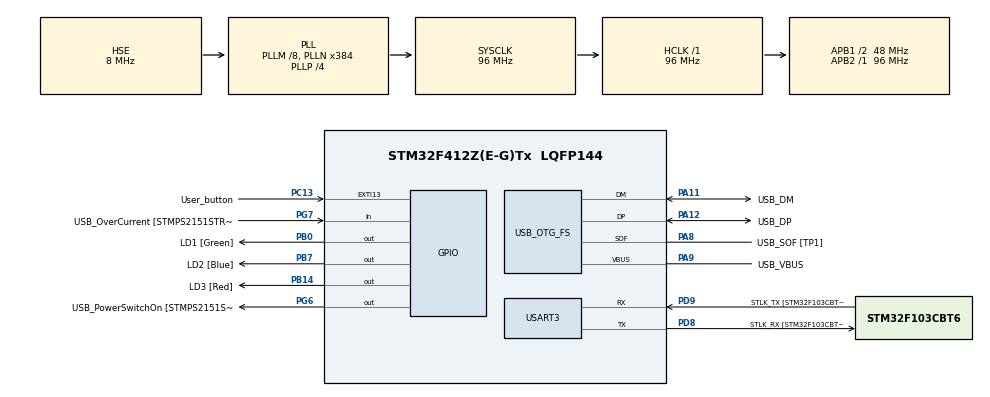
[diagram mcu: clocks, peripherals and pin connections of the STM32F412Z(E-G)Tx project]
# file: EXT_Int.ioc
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Mcu.Family=STM32F4
Mcu.Name=STM32F412Z(E-G)Tx
Mcu.Package=LQFP144
NVIC.EXTI15_10_IRQn=true\:0\:0\:false\:false\:true\:true\:true\:true
NVIC.PriorityGroup=NVIC_PRIORITYGROUP_4
PA10.GPIO_Label=USB_ID
PA10.Signal=USB_OTG_FS_ID
PA11.GPIO_Label=USB_DM
PA11.Mode=Device_Only
PA11.Signal=USB_OTG_FS_DM
PA12.GPIO_Label=USB_DP
PA12.Mode=Device_Only
PA12.Signal=USB_OTG_FS_DP
PA13.GPIO_Label=TMS
PA13.Mode=Serial_Wire
PA13.Signal=SYS_JTMS-SWDIO
PA14.GPIO_Label=TCK
PA14.Mode=Serial_Wire
PA14.Signal=SYS_JTCK-SWCLK
PA8.GPIO_Label=USB_SOF [TP1]
PA8.Mode=Activate_SOF_FS
PA8.Signal=USB_OTG_FS_SOF
PA9.GPIO_Label=USB_VBUS
PA9.Mode=Activate_VBUS
PA9.Signal=USB_OTG_FS_VBUS
PB0.GPIO_Label=LD1 [Green]
PB0.GPIO_ModeDefaultOutputPP=GPIO_MODE_OUTPUT_OD
PB0.GPIO_PuPd=GPIO_PULLUP
PB0.PinState=GPIO_PIN_SET
PB0.Signal=GPIO_Output
PB14.GPIO_Label=LD3 [Red]
PB14.Signal=GPIO_Output
PB3.GPIO_Label=SWO
PB3.Signal=SYS_JTDO-SWO
PB7.GPIO_Label=LD2 [Blue]
PB7.Signal=GPIO_Output
PC13.GPIO_Label=User_button
PC13.Signal=GPXTI13
PC14-OSC32_IN.Mode=LSE-External-Oscillator
PC14-OSC32_IN.Signal=RCC_OSC32_IN
PC15-OSC32_OUT.Mode=LSE-External-Oscillator
PC15-OSC32_OUT.Signal=RCC_OSC32_OUT
PD8.GPIO_Label=STLK_RX [STM32F103CBT6_PA3]
PD8.Mode=Asynchronous
PD8.Signal=USART3_TX
PD9.GPIO_Label=STLK_TX [STM32F103CBT6_PA2]
PD9.Mode=Asynchronous
PD9.Signal=USART3_RX
PG6.GPIO_Label=USB_PowerSwitchOn [STMPS2151STR_EN]
PG6.Signal=GPIO_Output
PG7.GPIO_Label=USB_OverCurrent [STMPS2151STR_FAULT]
PG7.Signal=GPIO_Input
PH0\ -\ OSC_IN.GPIO_Label=MCO
PH0\ -\ OSC_IN.Mode=HSE-External-Clock-Source
PH0\ -\ OSC_IN.Signal=RCC_OSC_IN
PH1\ -\ OSC_OUT.Mode=HSE-External-Clock-Source
PH1\ -\ OSC_OUT.Signal=RCC_OSC_OUT
ProjectManager.HeapSize=0x200
ProjectManager.StackSize=0x400
ProjectManager.TargetToolchain=STM32CubeIDE
RCC.48MHZClocksFreq_Value=24000000
RCC.AHBFreq_Value=96000000
RCC.APB1CLKDivider=RCC_HCLK_DIV2
RCC.APB1Freq_Value=48000000
RCC.APB1TimFreq_Value=96000000
RCC.APB2Freq_Value=96000000
RCC.APB2TimFreq_Value=96000000
RCC.CortexFreq_Value=96000000
RCC.HCLKFreq_Value=96000000
RCC.HSE_VALUE=8000000
RCC.HSI_VALUE=16000000
RCC.PLLM=8
RCC.PLLMUL=RCC_PLL_MUL9
RCC.PLLN=384
RCC.PLLP=RCC_PLLP_DIV4
RCC.PLLQ=8
RCC.PRESCALERUSB=RCC_USBCLKSOURCE_PLL_DIV1_5
RCC.SYSCLKFreq_VALUE=96000000
RCC.SYSCLKSource=RCC_SYSCLKSOURCE_PLLCLK
RCC.SYSCLKSourceVirtual=RCC_SYSCLKSOURCE_PLLCLK
RCC.USBFreq_Value=48000000
RCC.VCOOutputFreq_Value=384000000
USART3.VirtualMode=VM_ASYNC
USB_OTG_FS.VirtualMode=Device_Only
board=NUCLEO-F412ZG

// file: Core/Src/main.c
/* USER CODE BEGIN Header */
/**
  ******************************************************************************
  * @file           : main.c
  * @brief          : Main program body
  ******************************************************************************
  * @attention
  *
  * Copyright (c) 2025 STMicroelectronics.
  * All rights reserved.
  *
  * This software is licensed under terms that can be found in the LICENSE file
  * in the root directory of this software component.
  * If no LICENSE file comes with this software, it is provided AS-IS.
  *
  ******************************************************************************
  */
/* USER CODE END Header */
#include "main.h"

/* USER CODE BEGIN Includes */
#include <stdio.h>
/* USER CODE END Includes */

UART_HandleTypeDef huart3;

PCD_HandleTypeDef hpcd_USB_OTG_FS;

/* USER CODE BEGIN PV */

uint8_t btn_press = 0;

uint16_t blink_delays[] = {
		2000,
		1000,
		100
};

uint8_t blink_delay = 0;

uint64_t now = 0, last_blink = 0;

/* USER CODE END PV */

void SystemClock_Config(void);
static void MX_GPIO_Init(void);
static void MX_USART3_UART_Init(void);
static void MX_USB_OTG_FS_PCD_Init(void);

/* USER CODE BEGIN 0 */
__weak void HAL_GPIO_EXTI_Callback(uint16_t GPIO_Pin)
{
	if (GPIO_Pin == User_button_Pin) {
		btn_press = 1;
	}
}

// Send printf to uart3
int _write(int fd, char* ptr, int len) {
  HAL_StatusTypeDef hstatus;

  if (fd == 1 || fd == 2) {
    hstatus = HAL_UART_Transmit(&huart3, (uint8_t *) ptr, len, HAL_MAX_DELAY);
    if (hstatus == HAL_OK)
      return len;
    else
      return -1;
  }
  return -1;
}

/* USER CODE END 0 */

int main(void)
{

  /* MCU Configuration--------------------------------------------------------*/

  /* Reset of all peripherals, Initializes the Flash interface and the Systick. */
  HAL_Init();

  /* Configure the system clock */
  SystemClock_Config();

  /* Initialize all configured peripherals */
  MX_GPIO_Init();
  MX_USART3_UART_Init();
  MX_USB_OTG_FS_PCD_Init();

  /* Infinite loop */
  /* USER CODE BEGIN WHILE */
  while (1)
  {

  	now = HAL_GetTick();

  	if (now - last_blink >= blink_delays[blink_delay]){
  	HAL_GPIO_TogglePin(LD1_GPIO_Port, LD1_Pin);

  	last_blink = now;

  	}

  	if(btn_press == 1){

  		printf("Button pressed\n");

  		blink_delay++;

  		if (blink_delay >= sizeof(blink_delays) / sizeof(blink_delays[0])) blink_delay = 0;

  		btn_press = 0;
  	}

  }
    /* USER CODE END WHILE */
}

void SystemClock_Config(void)
{
  RCC_OscInitTypeDef RCC_OscInitStruct = {0};
  RCC_ClkInitTypeDef RCC_ClkInitStruct = {0};

  /** Configure the main internal regulator output voltage
  */
  __HAL_RCC_PWR_CLK_ENABLE();
  __HAL_PWR_VOLTAGESCALING_CONFIG(PWR_REGULATOR_VOLTAGE_SCALE1);

  /** Initializes the RCC Oscillators according to the specified parameters
  * in the RCC_OscInitTypeDef structure.
  */
  RCC_OscInitStruct.OscillatorType = RCC_OSCILLATORTYPE_HSE;
  RCC_OscInitStruct.HSEState = RCC_HSE_BYPASS;
  RCC_OscInitStruct.PLL.PLLState = RCC_PLL_ON;
  RCC_OscInitStruct.PLL.PLLSource = RCC_PLLSOURCE_HSE;
  RCC_OscInitStruct.PLL.PLLM = 8;
  RCC_OscInitStruct.PLL.PLLN = 384;
  RCC_OscInitStruct.PLL.PLLP = RCC_PLLP_DIV4;
  RCC_OscInitStruct.PLL.PLLQ = 8;
  RCC_OscInitStruct.PLL.PLLR = 2;
  if (HAL_RCC_OscConfig(&RCC_OscInitStruct) != HAL_OK)
  {
    Error_Handler();
  }

  /** Initializes the CPU, AHB and APB buses clocks
  */
  RCC_ClkInitStruct.ClockType = RCC_CLOCKTYPE_HCLK|RCC_CLOCKTYPE_SYSCLK
                              |RCC_CLOCKTYPE_PCLK1|RCC_CLOCKTYPE_PCLK2;
  RCC_ClkInitStruct.SYSCLKSource = RCC_SYSCLKSOURCE_PLLCLK;
  RCC_ClkInitStruct.AHBCLKDivider = RCC_SYSCLK_DIV1;
  RCC_ClkInitStruct.APB1CLKDivider = RCC_HCLK_DIV2;
  RCC_ClkInitStruct.APB2CLKDivider = RCC_HCLK_DIV1;

  if (HAL_RCC_ClockConfig(&RCC_ClkInitStruct, FLASH_LATENCY_3) != HAL_OK)
  {
    Error_Handler();
  }
}

static void MX_USART3_UART_Init(void)
{

  huart3.Instance = USART3;
  huart3.Init.BaudRate = 115200;
  huart3.Init.WordLength = UART_WORDLENGTH_8B;
  huart3.Init.StopBits = UART_STOPBITS_1;
  huart3.Init.Parity = UART_PARITY_NONE;
  huart3.Init.Mode = UART_MODE_TX_RX;
  huart3.Init.HwFlowCtl = UART_HWCONTROL_NONE;
  huart3.Init.OverSampling = UART_OVERSAMPLING_16;
  if (HAL_UART_Init(&huart3) != HAL_OK)
  {
    Error_Handler();
  }

}

static void MX_USB_OTG_FS_PCD_Init(void)
{

  hpcd_USB_OTG_FS.Instance = USB_OTG_FS;
  hpcd_USB_OTG_FS.Init.dev_endpoints = 6;
  hpcd_USB_OTG_FS.Init.speed = PCD_SPEED_FULL;
  hpcd_USB_OTG_FS.Init.dma_enable = DISABLE;
  hpcd_USB_OTG_FS.Init.phy_itface = PCD_PHY_EMBEDDED;
  hpcd_USB_OTG_FS.Init.Sof_enable = ENABLE;
  hpcd_USB_OTG_FS.Init.low_power_enable = DISABLE;
  hpcd_USB_OTG_FS.Init.lpm_enable = DISABLE;
  hpcd_USB_OTG_FS.Init.battery_charging_enable = ENABLE;
  hpcd_USB_OTG_FS.Init.vbus_sensing_enable = ENABLE;
  hpcd_USB_OTG_FS.Init.use_dedicated_ep1 = DISABLE;
  if (HAL_PCD_Init(&hpcd_USB_OTG_FS) != HAL_OK)
  {
    Error_Handler();
  }

}

static void MX_GPIO_Init(void)
{
  GPIO_InitTypeDef GPIO_InitStruct = {0};

  /* GPIO Ports Clock Enable */
  __HAL_RCC_GPIOC_CLK_ENABLE();
  __HAL_RCC_GPIOH_CLK_ENABLE();
  __HAL_RCC_GPIOB_CLK_ENABLE();
  __HAL_RCC_GPIOD_CLK_ENABLE();
  __HAL_RCC_GPIOG_CLK_ENABLE();
  __HAL_RCC_GPIOA_CLK_ENABLE();

  /*Configure GPIO pin Output Level */
  HAL_GPIO_WritePin(LD1_GPIO_Port, LD1_Pin, GPIO_PIN_SET);

  /*Configure GPIO pin Output Level */
  HAL_GPIO_WritePin(GPIOB, LD3_Pin|LD2_Pin, GPIO_PIN_RESET);

  /*Configure GPIO pin Output Level */
  HAL_GPIO_WritePin(USB_PowerSwitchOn_GPIO_Port, USB_PowerSwitchOn_Pin, GPIO_PIN_RESET);

  /*Configure GPIO pin : User_button_Pin */
  GPIO_InitStruct.Pin = User_button_Pin;
  GPIO_InitStruct.Mode = GPIO_MODE_IT_RISING;
  GPIO_InitStruct.Pull = GPIO_NOPULL;
  HAL_GPIO_Init(User_button_GPIO_Port, &GPIO_InitStruct);

  /*Configure GPIO pin : LD1_Pin */
  GPIO_InitStruct.Pin = LD1_Pin;
  GPIO_InitStruct.Mode = GPIO_MODE_OUTPUT_OD;
  GPIO_InitStruct.Pull = GPIO_PULLUP;
  GPIO_InitStruct.Speed = GPIO_SPEED_FREQ_LOW;
  HAL_GPIO_Init(LD1_GPIO_Port, &GPIO_InitStruct);

  /*Configure GPIO pins : LD3_Pin LD2_Pin */
  GPIO_InitStruct.Pin = LD3_Pin|LD2_Pin;
  GPIO_InitStruct.Mode = GPIO_MODE_OUTPUT_PP;
  GPIO_InitStruct.Pull = GPIO_NOPULL;
  GPIO_InitStruct.Speed = GPIO_SPEED_FREQ_LOW;
  HAL_GPIO_Init(GPIOB, &GPIO_InitStruct);

  /*Configure GPIO pin : USB_PowerSwitchOn_Pin */
  GPIO_InitStruct.Pin = USB_PowerSwitchOn_Pin;
  GPIO_InitStruct.Mode = GPIO_MODE_OUTPUT_PP;
  GPIO_InitStruct.Pull = GPIO_NOPULL;
  GPIO_InitStruct.Speed = GPIO_SPEED_FREQ_LOW;
  HAL_GPIO_Init(USB_PowerSwitchOn_GPIO_Port, &GPIO_InitStruct);

  /*Configure GPIO pin : USB_OverCurrent_Pin */
  GPIO_InitStruct.Pin = USB_OverCurrent_Pin;
  GPIO_InitStruct.Mode = GPIO_MODE_INPUT;
  GPIO_InitStruct.Pull = GPIO_NOPULL;
  HAL_GPIO_Init(USB_OverCurrent_GPIO_Port, &GPIO_InitStruct);

  /* EXTI interrupt init*/
  HAL_NVIC_SetPriority(EXTI15_10_IRQn, 0, 0);
  HAL_NVIC_EnableIRQ(EXTI15_10_IRQn);

}

void Error_Handler(void)
{
  __disable_irq();
  while (1)
  {
  }
}
